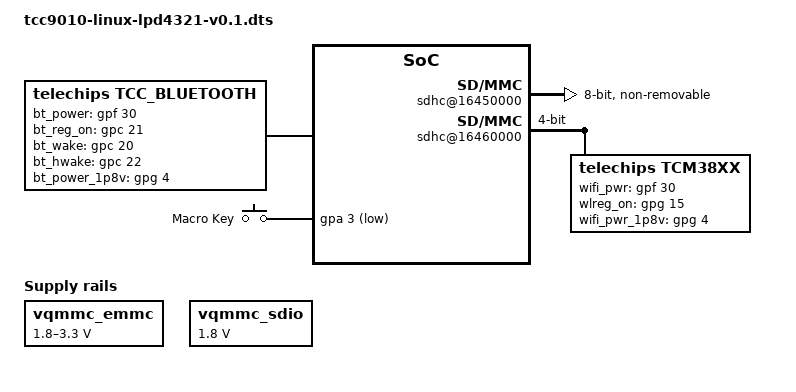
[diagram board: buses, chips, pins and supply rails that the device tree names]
// SPDX-License-Identifier: (GPL-2.0-or-later OR MIT)
/*
 * Copyright (C) Telechips Inc.
 */

/dts-v1/;

#include "tcc9010-linux-stb.dtsi"

/ {
	/* Describe here after remove this statement if you have something to be override. */

	/* eMMC */
	vqmmc_emmc: vqmmc_emmc {
		compatible = "regulator-gpio";

		regulator-name = "vqmmc_emmc";
		regulator-min-microvolt = <1800000>;
		regulator-max-microvolt = <3300000>;
		regulator-type = "voltage";
		regulator-ramp-delay = <10>;
		regulator-always-on;

		gpios = <&gpa 4 0x4>;
		gpios-states = <0>;
		states = <1800000 0x0
			3300000 0x1>;
	};

	sdhc@16450000 {
		status = "okay";
		bus-width = <8>;
		max-frequency = <200000000>;
		pinctrl-names = "default";
		pinctrl-0 = <&sd1_1_clk &sd1_1_cmd &sd1_1_bus8>;

		non-removable;
		keep-power-in-suspend;
		disable-wp;
		cap-mmc-hw-reset;
		mmc-ddr-1_8v;

		tcc-mmc-reset = <&gpa 6 0>;

		vqmmc-supply = <&vqmmc_emmc>;
	};

	/* SDIO */
	vqmmc_sdio: vqmmc_sdio {
		compatible = "regulator-fixed";
		regulator-name = "vqmmc_sdio";
		regulator-min-microvolt = <1800000>;
		regulator-max-microvolt = <1800000>;
		regulator-always-on;
	};

	sdhc@16460000 {
		status = "okay";
		bus-width = <4>;
		max-frequency = <2000000000>;
		pinctrl-names = "default";
		pinctrl-0 = <&sd2_1_clk &sd2_1_cmd &sd2_1_bus4>;

		keep-power-in-suspend;
		cap-sdio-irq;

		vqmmc-supply = <&vqmmc_sdio>;

		cd-force-presence-change;

		tcm38xx {
			compatible = "telechips,tcm38xx";
			wifi_pwr-gpio = <&gpf 30 0>; /* BT_WIFI_VBAT_EN */
			wlreg_on-gpio = <&gpg 15 0>; /* WIFI_REG_ON */
			wifi_pwr_1p8v-gpio = <&gpg 4 0>;
			//wifi_pwr_3p3v-gpio = <&gpsd1 7 0>;
		};
	};

	tcc_bluetooth {
		compatible = "telechips, tcc_bluetooth";
		bt_power-gpio = <&gpf 30 0>; /* BTWIFI_VBAT_EN */
		bt_reg_on-gpio = <&gpc 21 0>;
		bt_wake-gpio = <&gpc 20 0>;
		bt_hwake-gpio = <&gpc 22 0>;
		bt_power_1p8v-gpio = <&gpg 4 0>;
		status = "okay";
	};

	gpio_keys {
		compatible = "gpio-keys";
		#address-cells = <1>;
		#size-cells = <0>;
		autorepeat;
		button@0 {
			label = "Macro Key";
			linux,code = <112>;
			gpios = <&gpa 3 1>;
		};
	};
};
